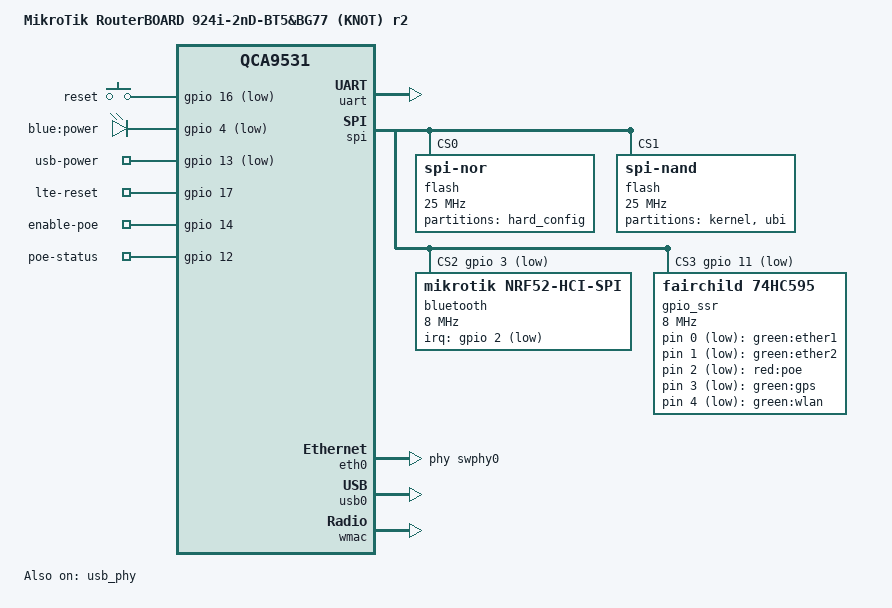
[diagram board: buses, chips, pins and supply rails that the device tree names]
// SPDX-License-Identifier: GPL-2.0-or-later OR MIT
/*
 * MikroTik KNOT RB924i-2nD-BT5&BG77, revisao r2. Descrito aqui: CPU, RAM,
 * UART, Ethernet, botao de reset (GPIO16), o azul do LED power (GPIO4), a
 * SPI-NOR do RouterBOOT somente leitura (so a hard_config), a SPI-NAND com
 * as particoes de instalacao (kernel em YAFFS + ubi), o USB (hub, modem
 * BG77, PL2303) e o Wi-Fi. Ainda NAO descritos: Bluetooth (nRF52832), os
 * demais LEDs e o PoE-out da Ether2.
 *
 * Base: qca953x.dtsi direto, e nao qca9533_mikrotik_routerboard-16m.dtsi nem
 * -95x.dtsi, porque estes declaram a particao "firmware" gravavel na NOR e
 * um 74hc595 no CS1, que aqui e a NAND. O PoE de saida (provavel GPIO14,
 * como na 95x) ainda nao foi medido nesta placa. O botao e o LED power foram
 * medidos nesta placa e estao descritos abaixo.
 *
 * Evidencia citada como "medido": leituras numa unidade r2 com OpenWrt em RAM
 * (registradores de GPIO via devmem, sysfs, swconfig, ethtool), 2026-11-23.
 */

#include "qca953x.dtsi"

/* Constantes usadas abaixo: GPIO_ACTIVE_LOW (gpio.h) e KEY_RESTART (input.h). */
#include <dt-bindings/gpio/gpio.h>
#include <dt-bindings/input/input.h>

/ {
	/*
	 * "qca9531": firmware-type informado pelo RouterOS desta unidade.
	 * Sufixo -r2: as unidades sem revisao vistas ate agora sao "qca9531L" com
	 * 16 MiB de flash (sem a SPI-NAND) e devem ter o seu proprio compatible.
	 */
	compatible = "mikrotik,routerboard-924i-2nd-bt5-bg77-r2", "qca,qca9531";
	/* board KNOT, model RB924i-2nD-BT5&BG77, revision r2 (RouterOS desta unidade) */
	model = "MikroTik RouterBOARD 924i-2nD-BT5&BG77 (KNOT) r2";

	aliases {
		/* ref: qca9533_mikrotik_routerboard-16m.dtsi:9-11 */
		serial0 = &uart;

		/*
		 * LEDs de estado do OpenWrt (etc/diag.sh): o LED power pisca no boot,
		 * pisca rapido no modo failsafe, fica aceso com o sistema pronto e
		 * pisca durante atualizacao. Sem esses aliases o OpenWrt nao teria
		 * nenhum LED para sinalizar o proprio estado.
		 */
		led-boot = &led_power;
		led-failsafe = &led_power;
		led-running = &led_power;
		led-upgrade = &led_power;
	};

	/*
	 * Botao de reset.
	 * Medido: GPIO16 e entrada; le 1 com o botao solto e 0 enquanto apertado
	 * (3 apertos, so o bit 16 de GPIO_IN muda). Mesmo pino e polaridade da
	 * familia 95x: qca9533_mikrotik_routerboard-16m.dtsi:13-20.
	 *
	 * Efeito no OpenWrt (KEY_RESTART -> /etc/rc.button/reset):
	 *  - sistema ja no ar: toque curto (menos de 1 s) reinicia; segurar 5 s
	 *    ou mais volta as configuracoes de fabrica, mas so com /overlay (OpenWrt
	 *    instalado). Em RAM so o toque curto tem efeito. (A imagem da Atheny
	 *    troca os 5 s por 10 s com o seu proprio /etc/rc.button/reset.)
	 *  - durante o comeco do boot (preinit), o botao pede o modo failsafe.
	 * Cuidado: nunca segurar o botao enquanto o KNOT reinicia ou liga. Nessa
	 * hora quem le o botao e o RouterBOOT, que pode resetar a configuracao do
	 * RouterOS, entrar em Netinstall ou, segurado por 20 s
	 * (reformat-hold-button), reformatar a NAND.
	 */
	keys {
		compatible = "gpio-keys";

		reset {
			label = "reset";
			linux,code = <KEY_RESTART>;
			gpios = <&gpio 16 GPIO_ACTIVE_LOW>;
			/* filtra o ruido do contato (ms); valor da 16m.dtsi:20, nao medido */
			debounce-interval = <60>;
		};
	};

	/*
	 * LED ligado direto ao SoC: so o azul do LED 1 (power) e comprovado.
	 * Medido: GPIO4 em 0 acende o azul, em 1 apaga (ida e volta, duas vezes).
	 * Mesmo pino e polaridade do LED power da mAP-2nD
	 * (qca9533_mikrotik_routerboard-map-2nd.dts:21-26); na familia 95x o GPIO4
	 * e um LED verde ativo em nivel alto.
	 *
	 * Ainda nao descritos: os LEDs 2-5 e 8 (Ether1, Ether2, PoE, Wi-Fi, GPS)
	 * ficam num registrador de deslocamento no SPI, sem chip select proprio
	 * (tabela de pinos do firmware de fabrica para esta placa; o latch
	 * provavelmente e o GPIO11). Medido: um teste de GPIOs deixou esses LEDs
	 * presos acesos, o que bate com um registrador que guarda estado. Falta
	 * suporte a esse arranjo no driver SPI. O LED 7 (LTE) e comandado pelo
	 * proprio modem. Os LEDs 6 e 9 nao foram vistos acesos.
	 */
	leds {
		compatible = "gpio-leds";

		led_power: power {
			label = "blue:power";
			gpios = <&gpio 4 GPIO_ACTIVE_LOW>;
			/* acende assim que o driver carrega (como na mAP-2nD) */
			default-state = "on";
		};

		/*
		 * LEDs no registrador (gpio_ssr), todos ativos em baixo pela tabela
		 * de fabrica. Cores e posicoes vistas no teste em RAM (2026-11-24),
		 * cada LED aceso sozinho: ether1 = LED 2, ether2 = 3, poe = 4
		 * (vermelho), gps = 8, wlan = 5.
		 */
		ether1 {
			label = "green:ether1";
			gpios = <&gpio_ssr 0 GPIO_ACTIVE_LOW>;
		};

		ether2 {
			label = "green:ether2";
			gpios = <&gpio_ssr 1 GPIO_ACTIVE_LOW>;
		};

		poe {
			label = "red:poe";
			gpios = <&gpio_ssr 2 GPIO_ACTIVE_LOW>;
		};

		gps {
			label = "green:gps";
			gpios = <&gpio_ssr 3 GPIO_ACTIVE_LOW>;
		};

		wlan {
			label = "green:wlan";
			gpios = <&gpio_ssr 4 GPIO_ACTIVE_LOW>;
		};
	};

	chosen {
		/*
		 * Console serial: ttyS0 a 115200 (baud-rate do RouterBOOT desta
		 * unidade). O kernel le daqui: CONFIG_MIPS_CMDLINE_FROM_DTB=y
		 * (config-6.12:120). Mesmo valor de qca953x.dtsi:11-13.
		 */
		bootargs = "console=ttyS0,115200n8";
	};
};

/*
 * UART do SoC (ttyS0, existe no RouterOS). Os pinos fisicos do console na
 * placa ainda nao foram identificados. ref: qca9531_glinet_gl-s200.dtsi:105-107
 */
&pinmux {
	/* GPIO_OUT_FUNC0[31:24] = 0: GPIO3 como GPIO (RouterBOOT: SPI CS2) */
	cs2_gpio_pins: pinmux_cs2_gpio_pins {
		pinctrl-single,bits = <0x0 0x0 0xff000000>;
	};
};

&uart {
	status = "okay";
};

/*
 * Barramento SPI e a flash NOR do RouterBOOT, SOMENTE LEITURA.
 *
 * Medido (registradores de funcao dos GPIOs): o RouterBOOT deixa tres chip
 * selects do SPI configurados (GPIO5 = CS0, GPIO1 = CS1, GPIO3 = CS2;
 * GPIO6 = CLK, GPIO7 = MOSI, GPIO8 = provavel MISO). Medido pelo ID no
 * dmesg: CS0 = NOR W25Q128JV (16 MiB), CS1 = SPI-NAND W25N01GV. CS2 = o
 * nRF52832 (Bluetooth), pela lista de dispositivos do firmware de fabrica.
 */
&spi {
	status = "okay";

	pinctrl-names = "default";
	pinctrl-0 = <&cs2_gpio_pins>;

	/*
	 * CS0 e CS1 nativos; CS2 = GPIO3 como GPIO, para dar ao nRF52832 o
	 * tempo de preparacao entre o CS e o primeiro clock (o CS nativo desce
	 * junto com o clock); CS3 = GPIO11, a selecao/latch do registrador de
	 * LEDs. Os dois precisam do patch 941-spi-ar934x-support-gpio-chip-selects.
	 */
	cs-gpios = <0>, <0>, <&gpio 3 GPIO_ACTIVE_LOW>,
		   <&gpio 11 GPIO_ACTIVE_LOW>;

	flash@0 {
		compatible = "jedec,spi-nor";
		reg = <0>;				/* chip select 0 */
		/* 300 MHz (AHB) / 12 = 25 MHz; valor da 92x, mesmo controlador */
		spi-max-frequency = <25000000>;
		/*
		 * Se a NOR tiver mais de 16 MiB e entrar no modo de endereco de
		 * 4 bytes, o kernel tenta devolve-la ao modo de 3 bytes num reboot
		 * ordenado (spi-nor/core.c:3405-3423); sem isso o SoC poderia nao
		 * achar o RouterBOOT num reboot quente (um corte de energia resolve).
		 * Inofensivo em NOR pequena.
		 */
		broken-flash-reset;

		/*
		 * Particoes: o parser "mikrotik,routerboot-partitions" acha a
		 * hard_config (dados de fabrica: MAC base, calibracao do Wi-Fi)
		 * pelo conteudo, sem precisar saber o tamanho da NOR.
		 *
		 * Seguranca, achados da revisao:
		 *  - o proprio conteiner "partitions" e read-only: o parser o
		 *    registra como uma particao do tamanho da NOR inteira
		 *    (routerbootpart.c:225-259; tamanho 0 = NOR inteira) e, sem
		 *    read-only, ela seria gravavel por cima do RouterBOOT. As
		 *    particoes de dentro herdam a falta de permissao (mtdpart.c:71).
		 *    A familia 92x nao tem essa protecao.
		 *  - so a hard_config e descrita nesta primeira leitura: com um
		 *    filho so o parser nao tem como errar por sobreposicao; se
		 *    errasse, o kernel registraria a NOR inteira gravavel
		 *    (mtdpart.c:594-596, mtdcore.c:1109-1118). Routerboot, bios e
		 *    soft_config entram depois de vermos os offsets reais.
		 * Com isso o Linux nao tem nenhum dispositivo gravavel na NOR, e o
		 * OpenWrt passa a ler o MAC verdadeiro (hard_config/mac_base, usado
		 * pelo 02_network).
		 */
		partitions {
			compatible = "mikrotik,routerboot-partitions";
			#address-cells = <1>;
			#size-cells = <1>;
			read-only;

			/* dados de fabrica (MAC, calibracao); nunca gravar */
			hard_config {
				read-only;
			};
		};
	};

	/*
	 * SPI-NAND de 128 MiB: onde o OpenWrt e instalado.
	 * Chip: Winbond W25N01GV no chip select 1, medido (ID ef aa 21 no dmesg,
	 * 128 MiB, 0 blocos ruins, oobavail 24). Tambem em U602 nas fotos internas
	 * da FCC do kit KNOT LR9. Referencia: GL-AR300M, mesmo SoC, SPI-NAND no
	 * CS1 (qca9531_glinet_gl-ar300m.dtsi:141-161).
	 *
	 * Particoes (docs: layout-nand.md, medido em dois dumps desta unidade):
	 *  - kernel (0 - 4 MiB): YAFFS2 com o arquivo "kernel" (ELF), que o
	 *    RouterBOOT abre ao ligar. E a mesma area que o RouterOS usa nesta
	 *    placa (YAFFS2 com tags inband, 2032 B de dados por pagina, medido
	 *    nos dumps). Pelo codigo do yafut, ele escolhe esse mesmo formato
	 *    sozinho porque oobavail = 24 < 28 (falta confirmar gravando).
	 *    Diferente da 92x, aqui nao ha area "booter" no inicio da NAND: o
	 *    RouterBOOT fica na NOR e o RouterOS grava o kernel a partir do
	 *    bloco 0.
	 *  - ubi (4 MiB - 128 MiB): rootfs (squashfs) e rootfs_data.
	 * O kernel so anexa o UBI sozinho quando o primeiro bloco bom do "ubi"
	 * comeca com a assinatura UBI# (patch 490 do generic). Com o RouterOS
	 * ainda na NAND isso nao acontece: a instalacao formata o "ubi" com
	 * ubiformat e grava o kernel no YAFFS com o yafut.
	 */
	flash@1 {
		compatible = "spi-nand";
		reg = <1>;				/* chip select 1 */
		spi-max-frequency = <25000000>;

		partitions {
			compatible = "fixed-partitions";
			#address-cells = <1>;
			#size-cells = <1>;

			partition@0 {
				label = "kernel";
				reg = <0x0 0x400000>;		/* 4 MiB */
			};

			partition@400000 {
				label = "ubi";
				reg = <0x400000 0x7c00000>;	/* 124 MiB */
			};
		};
	};

	/*
	 * Bluetooth LE: Nordic nRF52832 com o firmware HCI (Zephyr) da
	 * MikroTik ja gravado. Pela lista de dispositivos do firmware de
	 * fabrica: "spi-nRF52832" no CS2, 8 MHz, modo SPI 0, interrupcao no
	 * GPIO2. H4 sobre SPI; o nRF ativa a linha enquanto esta ocupado com
	 * um pacote recebido e quando tem pacote para o host. Medido nesta
	 * unidade: com o CS nativo (sem pausa antes do clock), o nRF perde o
	 * primeiro bit; com 5 us, nenhum erro. Driver: kmod-hci-nrf52-spi.
	 */
	bluetooth@2 {
		compatible = "mikrotik,nrf52-hci-spi";
		reg = <2>;				/* chip select 2 */
		spi-max-frequency = <8000000>;
		spi-cs-setup-delay-ns = <5000>;
		irq-gpios = <&gpio 2 GPIO_ACTIVE_LOW>;
	};

	/*
	 * Registrador de deslocamento (74hc595, 8 saidas) dos LEDs e de dois
	 * controles do modem, sem chip select proprio: recebe todo o trafego do
	 * SPI e so copia para as saidas na subida do GPIO11. Pela lista de
	 * dispositivos do firmware de fabrica para esta placa (ficha-knot-r2.md,
	 * fim): "rb400-spi-misc" a 8 MHz, dados {11, 1, 0x7f} = GPIO11, 1
	 * registrador, valor inicial 0x7f. Saidas 0-4: LEDs; 5: hub USB;
	 * 6: uart-select; 7: mpcie-power-off (alimentacao do modem).
	 * Medido em RAM (2026-11-24): os 5 LEDs e o hub USB respondem.
	 */
	gpio_ssr: gpio-ssr@3 {
		compatible = "fairchild,74hc595";
		reg = <3>;				/* CS3 = GPIO11 */
		gpio-controller;
		#gpio-cells = <2>;
		registers-number = <1>;
		spi-max-frequency = <8000000>;

		/*
		 * O driver zera as saidas no probe (modem sem energia por um
		 * instante); o hog religa logo em seguida. Ativo em baixo pela
		 * tabela de fabrica: logico 0 = pino em 1 = modem alimentado.
		 */
		mpcie-power-off-hog {
			gpio-hog;
			gpios = <7 GPIO_ACTIVE_LOW>;
			output-low;
			line-name = "mpcie-power-off";
		};

		/*
		 * Saida 5: libera o hub USB (alimentacao ou reset). Fora da tabela
		 * de pinos da r2, mas o valor inicial de fabrica (0x7f) a deixa em
		 * 1; na variante de 16 MiB a mesma saida e "mpcie-power-off",
		 * ativa em baixo. Medido (2026-11-24, OpenWrt em RAM): em 0 o hub
		 * nao responde (error -71) e nada aparece no USB; em 1 o hub, o
		 * PL2303 e o modem enumeram.
		 */
		usb-hub-hog {
			gpio-hog;
			gpios = <5 GPIO_ACTIVE_HIGH>;
			output-high;
			line-name = "usb-hub";
		};

		/* valor do firmware de fabrica (bit 6 de 0x7f) */
		uart-select-hog {
			gpio-hog;
			gpios = <6 GPIO_ACTIVE_HIGH>;
			output-high;
			line-name = "uart-select";
		};
	};
};

/*
 * Ethernet: 2 portas 10/100 no switch interno do SoC (Atheros AR8229).
 * Topologia igual a da mAP-2nD (qca9533_mikrotik_routerboard-map-2nd.dts:106-115;
 * commit e1223dbee3: "ETH1 is connected to eth1 and ETH2 is connected to eth0
 * via the embedded switch port 2").
 *
 * Medido no KNOT (so a Ether1 cabeada): a Ether1 e o eth1 do Linux
 * (19000000.eth = GMAC0), ligado ao PHY interno do switch com a troca
 * PHY0/PHY4, link de 100 Mb/s full; o registrador ETH_CFG (0x18070000) mostra
 * o bit SW_PHY_SWAP ligado. A Ether2 fica atras do eth0 (GMAC1, link fixo de
 * 1 Gb/s ate o switch, herdado de qca953x.dtsi:279-292). A Ether2 tem PoE-out,
 * ainda nao controlado por este DTS.
 */
&eth0 {
	status = "okay";

	/* GMAC0 usa o PHY 0 do switch (com a troca abaixo vira a porta da Ether1) */
	phy-handle = <&swphy0>;

	gmac-config {
		device = <&gmac>;
		/* liga SW_PHY_SWAP no ETH_CFG: ag71xx_gmac.c:39-48 (qca,ar9330-gmac) */
		switch-phy-swap = <1>;
	};
};

/*
 * Controles do USB e do modem, exportados para o userspace (/sys/class/gpio),
 * como o usb_power da familia 95x (qca9533_mikrotik_routerboard-95x.dtsi:48-62):
 *  - usb-power: GPIO13, "usb-power-off" ativo em nivel alto na tabela de
 *    pinos do firmware de fabrica, ou seja, power ativo em baixo.
 *    gpio-export,output e o nivel fisico (o driver grava sem inverter): 0,
 *    o mesmo que o RouterBOOT deixa. Medido (2026-11-24): com o pino em 1
 *    desde o boot ou em 0, o hub, o PL2303 e o modem enumeram do mesmo
 *    jeito; quem libera o hub nesta placa e a saida 5 do registrador de
 *    LEDs (gpio_ssr, abaixo).
 *  - lte-reset: GPIO17, reset do modem BG77, ativo em nivel alto; saida 0
 *    (nivel fisico) = modem rodando. Medido
 *    (2026-11-24, OpenWrt em RAM): o RouterBOOT deixa o GPIO17 em 1 e o modem
 *    fica reiniciando (aparece e some do USB a cada ~3,5 s); em 0 ele fica
 *    estavel, responde a AT na interface 2, e o PL2303 tambem aparece.
 */
/ {
	gpio-export {
		compatible = "gpio-export";

		usb_power {
			gpio-export,name = "usb-power";
			gpio-export,output = <0>;
			gpios = <&gpio 13 GPIO_ACTIVE_LOW>;
		};

		lte_reset {
			gpio-export,name = "lte-reset";
			gpio-export,output = <0>;
			gpios = <&gpio 17 GPIO_ACTIVE_HIGH>;
		};

		/*
		 * PoE de saida da Ether2 (passivo). Medido (2026-11-25, fonte de
		 * 12 V, multimetro entre azul e marrom, sem carga): GPIO14 em 1 =
		 * 11,72 V e o GPIO12 vai a 1; em 0 = 9,68 V (provavel fuga sem
		 * carga, a confirmar com carga) e o GPIO12 volta a 0. Mesmo pino e
		 * polaridade da mAP-2nD (qca9533_mikrotik_routerboard-map-2nd.dts:
		 * 72-76). Desligado por padrao.
		 */
		enable_poe {
			gpio-export,name = "enable-poe";
			gpio-export,output = <0>;
			gpios = <&gpio 14 GPIO_ACTIVE_HIGH>;
		};

		/* acompanha o estado do PoE (medido, ver acima); so leitura */
		poe_status {
			gpio-export,name = "poe-status";
			gpios = <&gpio 12 GPIO_ACTIVE_HIGH>;
		};
	};
};

/*
 * USB 2.0 do SoC. Atras dele (RouterOS desta unidade, /system resource usb):
 * hub de 4 portas 14cd:8608, conversor USB-serial Prolific 067b:23a3
 * (PL2303GC pelo ID, pl2303.h; a marcacao do chip e ilegivel) e o modem
 * Quectel BG77 (2c7c:0700, driver option, mesma entrada do BG95). Mesmos
 * nos da mAP-2nD (qca9533_mikrotik_routerboard-map-2nd.dts:117-123).
 * O modem tambem depende do mpcie-power-off (saida 7 do registrador de
 * LEDs, no SPI, ainda nao descrito), que fica no estado deixado pelo boot.
 * Portas do modem (option): a interface 2 responde a AT (medido com ATI:
 * BG77, revisao BG77LAR02A04). Os numeros ttyUSB dependem da ordem em que
 * o modem e o PL2303 aparecem.
 */
&usb_phy {
	status = "okay";
};

&usb0 {
	status = "okay";
};

/*
 * Wi-Fi 2,4 GHz do proprio SoC (ath9k). Sem EEPROM: a calibracao vem da
 * hard_config (wlan_data) pelo /etc/hotplug.d/firmware/10-ath9k-eeprom.
 * Medido (wlan_data ja decodificada pelo rb_hardconfig, 2026-11-24): 0x1000
 * comeca com 02 02 (versao de EEPROM e de modelo do formato AR9300) e todos
 * os bytes diferentes de 0xFF ficam em 0x1000-0x1440, o mesmo trecho usado
 * pelas outras MikroTik QCA953x. Igual a
 * qca9533_mikrotik_routerboard-map-2nd.dts:100-104.
 */
&wmac {
	status = "okay";

	qca,no-eeprom;
};
